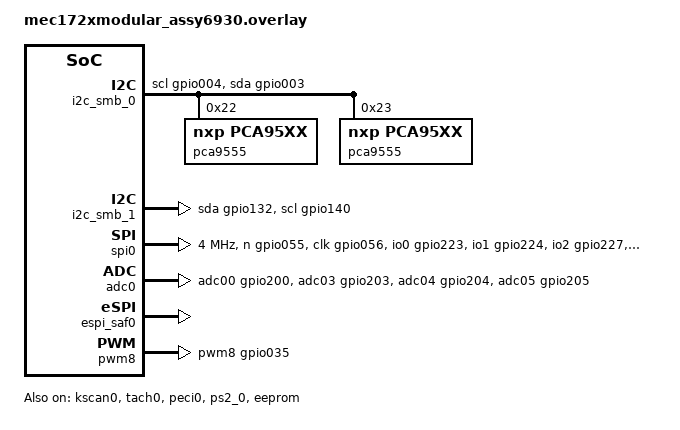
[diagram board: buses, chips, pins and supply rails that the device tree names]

&i2c_smb_0 {
	status = "okay";
	port_sel = <0>;
	pinctrl-0 = < &i2c00_scl_gpio004 &i2c00_sda_gpio003 >;
	pinctrl-names = "default";

	pca9555@22 {
		compatible = "nxp,pca95xx";

		/* Address depends on 0100<A2=0><A1=1><A0=0><R/W>b. */
		reg = <0x22>;
		gpio-controller;
		#gpio-cells = <2>;
	};

	pca9555@23 {
		compatible = "nxp,pca95xx";

		/* Address depends on 0100<A2=1><A1=0><A0=1><R/W>b. */
		reg = <0x23>;
		gpio-controller;
		#gpio-cells = <2>;
	};
};

&i2c_smb_1 {
	status = "okay";
	port_sel = <6>;
	pinctrl-0 = < &i2c06_sda_gpio132 &i2c06_scl_gpio140 >;
	pinctrl-names = "default";
};

&spi0 {
	status = "okay";
	clock-frequency = <4000000>;
	lines = <4>;
	chip_select = <0>;
	port_sel = <0>; /* Shared SPI */

	pinctrl-0 = < &shd_cs0_n_gpio055
		      &shd_clk_gpio056
		      &shd_io0_gpio223
		      &shd_io1_gpio224
		      &shd_io2_gpio227
		      &shd_io3_gpio016 >;
	pinctrl-names = "default";
};

&kscan0 {
	status = "okay";

	pinctrl-0 = < &ksi0_gpio017
		      &ksi1_gpio020
		      &ksi2_gpio021
		      &ksi3_gpio026
		      &ksi4_gpio027
		      &ksi5_gpio030
		      &ksi6_gpio031
		      &ksi7_gpio032
		      &kso00_gpio040
		      &kso01_gpio045
		      &kso02_gpio046
		      &kso03_gpio047
		      &kso04_gpio107
		      &kso05_gpio112
		      &kso06_gpio113
		      &kso07_gpio120
		      &kso08_gpio121
		      &kso09_gpio122
		      &kso10_gpio123
		      &kso11_gpio124
		      &kso12_gpio125
		      &kso13_gpio126 >;
	pinctrl-names = "default";
};

&adc0 {
	status = "okay";
	pinctrl-0 = <&adc00_gpio200 &adc03_gpio203
		     &adc04_gpio204 &adc05_gpio205>;
	pinctrl-names = "default";
};

&tach0 {
	status = "okay";
	pinctrl-0 = < &tach0_gpio050 >;
	pinctrl-names = "default";
};

&peci0 {
	status = "okay";

	pinctrl-0 = < &peci_dat_gpio042 &vref_vtt_gpio044 >;
	pinctrl-names = "default";
};

&ps2_0 {
	status = "okay";

	pinctrl-0 = < &ps2_clk0a_gpio114 &ps2_dat0a_gpio115 >;
	pinctrl-names = "default";
};

&espi_saf0 {
	status = "okay";
};

&eeprom {
	status = "okay";

	pinctrl-0 = <&eeprom_cs_gpio116
		      &eeprom_clk_gpio117
		      &eeprom_mosi_gpio074
		      &eeprom_miso_gpio075>;
	pinctrl-names = "default";
};

&pwm8 {
	status = "okay";

	pinctrl-0 = < &pwm8_gpio035 >;
	pinctrl-names = "default";
};
